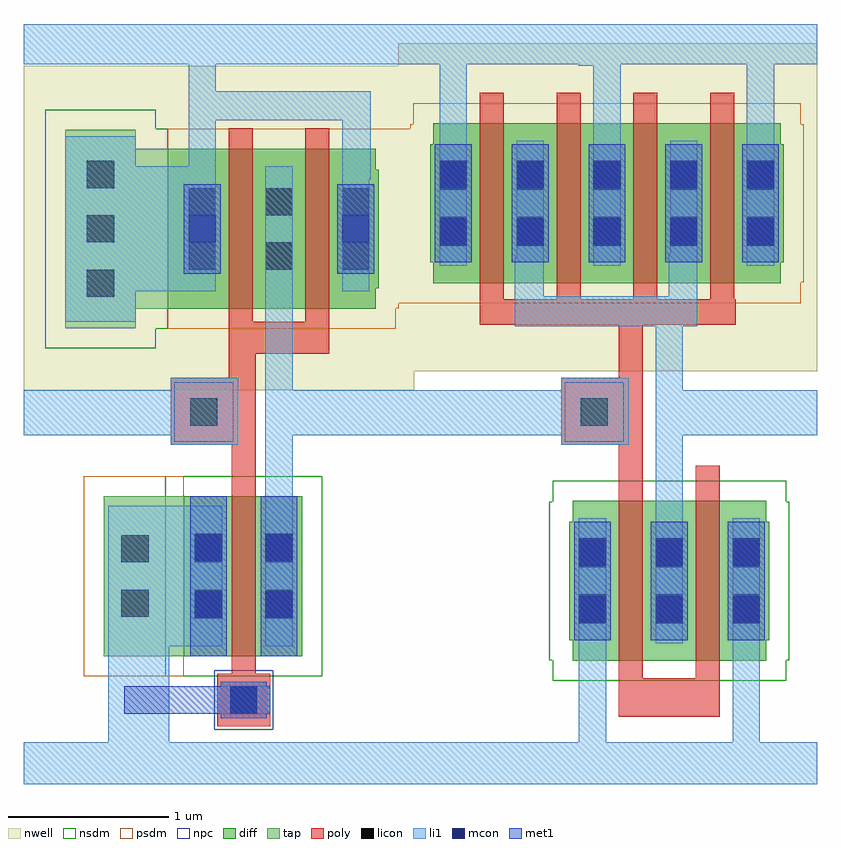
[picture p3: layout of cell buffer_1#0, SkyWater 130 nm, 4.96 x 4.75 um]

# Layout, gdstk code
import gdstk
lib = gdstk.Library(unit=1e-6, precision=1e-09)
def R(c, l, rs):  # rectangles x0, y0, x1, y1
    for r in rs: c.add(gdstk.rectangle(r[:2], r[2:], *l))
def A(c, l, x, y, w, h, nx, ny, dx, dy):  # array of equal rectangles
    R(c, l, [(x+i*dx, y+j*dy, x+i*dx+w, y+j*dy+h) for i in range(nx) for j in range(ny)])
nwell = (64, 20)
diff = (65, 20)
tap = (65, 44)
poly = (66, 20)
licon = (66, 44)
li1 = (67, 20)
mcon = (67, 44)
met1 = (68, 20)
nsdm = (93, 44)
psdm = (94, 20)
npc = (95, 20)

sky130_fd_pr__pfet_01v8_ = lib.new_cell('sky130_fd_pr__pfet_01v8_AC5Z8B')
R(sky130_fd_pr__pfet_01v8_, nwell, [(-1.305,-1.05,1.315,1)])
R(sky130_fd_pr__pfet_01v8_, diff, [(-1.085,-0.5,1.085,-0.37), (-1.105,-0.37,1.105,0.37), (-1.085,0.37,1.085,0.5)])
A(sky130_fd_pr__pfet_01v8_, poly, -0.795, -0.6, 0.15, 1.29, 4, 1, 0.48, 0)
R(sky130_fd_pr__pfet_01v8_, poly, [(0.075,-1.04,0.225,-0.76), (-0.795,-0.76,0.805,-0.6)])
A(sky130_fd_pr__pfet_01v8_, licon, -1.045, -0.255, 0.17, 0.17, 5, 2, 0.48, 0.34)
A(sky130_fd_pr__pfet_01v8_, li1, -1.045, -0.39, 0.17, 1.35, 3, 1, 0.96, 0)
R(sky130_fd_pr__pfet_01v8_, li1, [(-1.305,-3.63,-1.115,-3.37), (1.125,-3.63,1.315,-3.37), (-1.305,-1.45,-1.125,-1.17), (1.085,-1.45,1.315,-1.17), (0.305,-1.1,0.475,-0.77), (-0.575,-0.77,0.565,-0.58), (-0.575,-0.58,-0.395,-0.34), (0.385,-0.58,0.565,-0.32), (-0.565,-0.34,-0.395,0.39), (0.395,-0.32,0.565,0.39), (-1.305,0.87,-1.185,1.12), (1.145,0.87,1.315,1.12)])
A(sky130_fd_pr__pfet_01v8_, mcon, -1.045, -0.265, 0.17, 0.17, 5, 2, 0.48, 0.36)
A(sky130_fd_pr__pfet_01v8_, met1, -1.075, -0.37, 0.23, 0.74, 5, 1, 0.48, 0)
R(sky130_fd_pr__pfet_01v8_, psdm, [(-1.21,-0.625,1.21,-0.495), (-1.23,-0.495,1.23,0.495), (-1.21,0.495,1.21,0.625)])

sky130_fd_pr__nfet_01v8_ = lib.new_cell('sky130_fd_pr__nfet_01v8_XJTKXQ')
R(sky130_fd_pr__nfet_01v8_, diff, [(-0.605,-0.5,0.605,-0.37), (-0.625,-0.37,0.625,0.37), (-0.605,0.37,0.605,0.5)])
R(sky130_fd_pr__nfet_01v8_, poly, [(-0.315,-0.61,-0.165,0.61), (0.165,-0.61,0.315,0.61)])
A(sky130_fd_pr__nfet_01v8_, licon, -0.565, -0.255, 0.17, 0.17, 3, 2, 0.48, 0.34)
A(sky130_fd_pr__nfet_01v8_, li1, -0.565, -0.39, 0.17, 0.78, 3, 1, 0.48, 0)
A(sky130_fd_pr__nfet_01v8_, mcon, -0.565, -0.265, 0.17, 0.17, 3, 2, 0.48, 0.36)
A(sky130_fd_pr__nfet_01v8_, met1, -0.595, -0.37, 0.23, 0.74, 3, 1, 0.48, 0)
R(sky130_fd_pr__nfet_01v8_, nsdm, [(-0.73,-0.625,0.73,-0.495), (-0.75,-0.495,0.75,0.495), (-0.73,0.495,0.73,0.625)])

inv_w2 = lib.new_cell('inv_W2')
R(inv_w2, poly, [(0.78,0.06,1.41,0.3), (0.78,1.49,0.93,1.76), (1.26,1.5,1.41,1.63), (0.42,1.76,0.93,2.18), (0.78,2.18,0.93,2.27)])
R(inv_w2, licon, [(0.54,1.88,0.71,2.05)])
R(inv_w2, li1, [(-0.5,-0.36,1.94,-0.1), (0.53,-0.1,0.7,0.57), (1.49,-0.1,1.66,0.58), (1.01,1.3,1.18,1.82), (0.42,1.76,0.84,1.82), (-0.5,1.82,0.84,2.1), (1.01,1.82,1.94,2.1), (0.42,2.1,0.84,2.18), (1.01,2.1,1.18,2.27), (0.53,4.13,0.7,4.14), (-0.5,4.14,1.94,4.39)])
R(inv_w2, npc, [(0.44,1.78,0.81,2.15)])
inv_w2.add(gdstk.Reference(sky130_fd_pr__pfet_01v8_, (0.705,3.27)))
inv_w2.add(gdstk.Reference(sky130_fd_pr__nfet_01v8_, (1.095,0.91)))
inv_w2.add(gdstk.Label('Vin', (-0.5,1.95), layer=67, texttype=5))
inv_w2.add(gdstk.Label('Vout', (1.94,1.96), layer=67, texttype=5))
inv_w2.add(gdstk.Label('GND', (-0.5,-0.23), layer=67, texttype=5))
inv_w2.add(gdstk.Label('VDD', (-0.5,4.27), layer=67, texttype=5))

pmos_2uf2 = lib.new_cell('pmos_2uf2')
R(pmos_2uf2, nwell, [(-1.585,-1.01,0.845,1.02)])
R(pmos_2uf2, diff, [(-0.695,-0.5,0.605,-0.37), (-0.695,-0.37,0.625,0.37), (-0.695,0.37,0.605,0.5)])
R(pmos_2uf2, tap, [(-1.335,-0.62,-0.895,-0.5), (-1.335,-0.5,-0.695,0.5), (-1.335,0.5,-0.895,0.62)])
R(pmos_2uf2, poly, [(-0.315,-0.65,-0.165,0.63), (0.165,-0.65,0.315,0.63)])
A(pmos_2uf2, licon, -1.2, -0.425, 0.17, 0.17, 1, 3, 0, 0.34)
A(pmos_2uf2, licon, -0.565, -0.255, 0.17, 0.17, 3, 2, 0.48, 0.34)
R(pmos_2uf2, li1, [(-1.335,-0.58,-0.895,-0.39), (-1.335,-0.39,-0.395,0.39), (-0.085,-0.39,0.085,0.39), (0.395,-0.39,0.565,0.39), (-1.335,0.39,-0.895,0.58)])
R(pmos_2uf2, mcon, [(-0.565,-0.085,-0.395,0.085), (0.395,-0.085,0.565,0.085)])
R(pmos_2uf2, met1, [(-0.595,-0.28,-0.365,0.28), (0.365,-0.28,0.595,0.28)])
R(pmos_2uf2, nsdm, [(-1.46,-0.745,-0.77,-0.625), (-1.46,-0.625,-0.695,0.625), (-1.46,0.625,-0.77,0.745)])
R(pmos_2uf2, psdm, [(-0.695,-0.625,0.73,-0.495), (-0.695,-0.495,0.75,0.495), (-0.695,0.495,0.73,0.625)])

c_sky130_fd_pr__nfet_01v8_ = lib.new_cell('sky130_fd_pr__nfet_01v8_7RYEVP')
R(c_sky130_fd_pr__nfet_01v8_, diff, [(-0.365,-0.345,0.365,0.655)])
R(c_sky130_fd_pr__nfet_01v8_, poly, [(-0.165,-0.785,0.165,-0.455), (-0.075,-0.455,0.075,0.785)])
R(c_sky130_fd_pr__nfet_01v8_, licon, [(-0.085,-0.705,0.085,-0.535), (-0.305,-0.1,-0.135,0.07), (0.135,-0.1,0.305,0.07), (-0.305,0.24,-0.135,0.41), (0.135,0.24,0.305,0.41)])
R(c_sky130_fd_pr__nfet_01v8_, li1, [(-0.165,-0.705,0.165,-0.535), (-0.305,-0.285,-0.135,0.595), (0.135,-0.285,0.305,0.595)])
R(c_sky130_fd_pr__nfet_01v8_, mcon, [(-0.085,-0.705,0.085,-0.535), (-0.305,-0.11,-0.135,0.06), (0.135,-0.11,0.305,0.06), (-0.305,0.25,-0.135,0.42), (0.135,0.25,0.305,0.42)])
R(c_sky130_fd_pr__nfet_01v8_, met1, [(-0.145,-0.735,0.145,-0.505), (-0.335,-0.345,-0.105,0.655), (0.105,-0.345,0.335,0.655)])
R(c_sky130_fd_pr__nfet_01v8_, nsdm, [(-0.49,-0.47,0.49,0.78)])
R(c_sky130_fd_pr__nfet_01v8_, npc, [(-0.185,-0.805,0.185,-0.435)])

nmos_1u = lib.new_cell('nmos_1u')
R(nmos_1u, diff, [(-0.06,0.37,-0.05,1.37)])
R(nmos_1u, tap, [(-0.56,0.37,-0.06,1.37)])
R(nmos_1u, licon, [(-0.45,0.615,-0.28,0.785), (-0.45,0.955,-0.28,1.125)])
R(nmos_1u, li1, [(-0.53,0.43,0.01,1.31)])
R(nmos_1u, met1, [(-0.43,0.01,0.48,0.18)])
R(nmos_1u, nsdm, [(-0.06,0.245,0.075,1.495)])
R(nmos_1u, psdm, [(-0.685,0.245,-0.06,1.495)])
nmos_1u.add(gdstk.Reference(c_sky130_fd_pr__nfet_01v8_, (0.315,0.715)))

inv_w1 = lib.new_cell('inv_W1')
R(inv_w1, nwell, [(-0.5,2.1,-0.49,4.13), (0.78,2.16,1.41,2.47), (0.53,3.79,1.67,3.97)])
R(inv_w1, poly, [(0.8,1.49,0.95,1.76), (0.42,1.76,0.95,2.18), (0.78,2.18,0.95,2.33), (0.78,2.33,1.41,2.53)])
R(inv_w1, licon, [(0.54,1.88,0.71,2.05)])
R(inv_w1, li1, [(-0.5,-0.36,1.94,-0.1), (0.03,-0.1,0.41,0.57), (1.01,1.3,1.18,1.82), (0.42,1.76,0.84,1.82), (-0.5,1.82,0.84,2.1), (1.01,1.82,1.94,2.1), (0.42,2.1,0.84,2.18), (1.01,2.1,1.18,2.78), (0.53,2.89,0.7,3.79), (1.49,3.42,1.67,3.79), (0.53,3.79,1.67,3.97), (0.53,3.97,0.7,4.14), (-0.5,4.14,1.94,4.39)])
R(inv_w1, npc, [(0.44,1.78,0.81,2.15)])
inv_w1.add(gdstk.Reference(pmos_2uf2, (1.095,3.11)))
inv_w1.add(gdstk.Reference(nmos_1u, (0.56,0.07)))
inv_w1.add(gdstk.Label('Vin', (-0.5,1.95), layer=67, texttype=5))
inv_w1.add(gdstk.Label('Vout', (1.94,1.96), layer=67, texttype=5))
inv_w1.add(gdstk.Label('VDD', (-0.5,4.27), layer=67, texttype=5))
inv_w1.add(gdstk.Label('GND', (-0.5,-0.23), layer=67, texttype=5))

buffer_1_0 = lib.new_cell('buffer_1#0')
R(buffer_1_0, psdm, [(2.345,3.005,2.435,3.135), (2.345,3.135,2.415,3.965), (2.325,3.965,2.415,4.095)])
buffer_1_0.add(gdstk.Reference(inv_w2, (2.94,0.36)))
buffer_1_0.add(gdstk.Reference(inv_w1, (0.5,0.36)))

lib.write_gds('buffer_1_0.gds')
